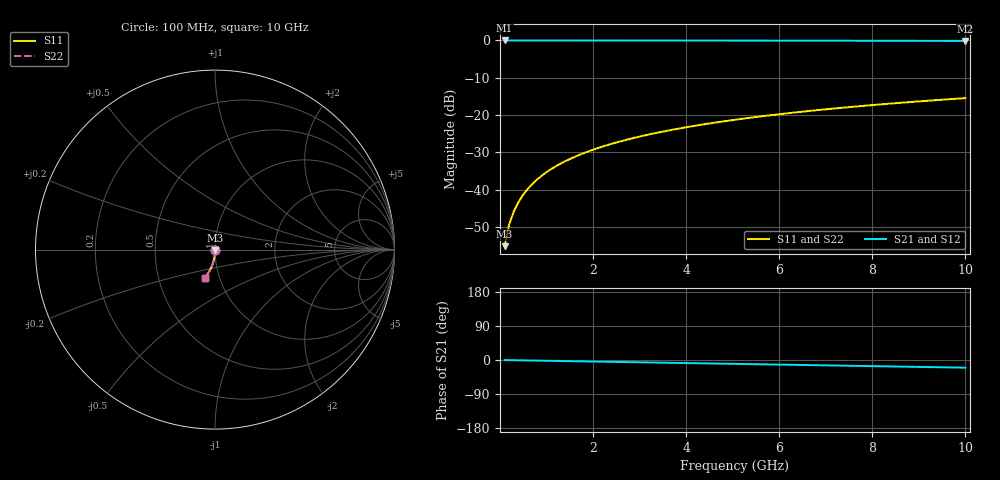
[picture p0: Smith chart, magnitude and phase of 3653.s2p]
# Hz S RI R 50.00
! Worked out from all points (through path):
!   100 points, 100 MHz to 10 GHz, reference 50 ohm
!   highest |S21| = 0.00 dB at 100 MHz (marker M1); lowest = -0.1 dB at 10 GHz (marker M2)
!   group delay of S21, straight-line fit = 5.62 ps
!   lowest |S11| = -55.1 dB at 100 MHz (marker M3), VSWR 1.00, Z = 50 - j0.172 ohm
!   |S11| at or under -10 dB: start of sweep to end of sweep
!   |S22| runs from -55.1 to -15.5 dB; largest |S21 - S12| = 0
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1e8  0.000345 -0.00172  0.9996 -0.00352  0.9996 -0.00352  0.000345 -0.00172
2e8  0.000327 -0.00343  0.9996 -0.00703  0.9996 -0.00703  0.000327 -0.00343
3e8  0.000296 -0.00515  0.9996 -0.0106  0.9996 -0.0106  0.000296 -0.00515
4e8  0.000252 -0.00687  0.9995 -0.0141  0.9995 -0.0141  0.000252 -0.00687
5e8  0.000197 -0.00858  0.9994 -0.0176  0.9994 -0.0176  0.000197 -0.00858
6e8  0.000129 -0.0103  0.9993 -0.0211  0.9993 -0.0211  0.000129 -0.0103
7e8  4.87e-05 -0.012  0.9992 -0.0246  0.9992 -0.0246  4.87e-05 -0.012
8e8  -4.35e-05 -0.0137  0.9991 -0.0281  0.9991 -0.0281  -4.35e-05 -0.0137
9e8  -0.000148 -0.0154  0.999 -0.0317  0.999 -0.0317  -0.000148 -0.0154
1.1e9  -0.000393 -0.0189  0.9987 -0.0387  0.9987 -0.0387  -0.000393 -0.0189
1.4e9  -0.000852 -0.024  0.9981 -0.0492  0.9981 -0.0492  -0.000852 -0.024
1.8e9  -0.00163 -0.0309  0.9971 -0.0633  0.9971 -0.0633  -0.00163 -0.0309
2.1e9  -0.00235 -0.036  0.9962 -0.0738  0.9962 -0.0738  -0.00235 -0.036
2.5e9  -0.00347 -0.0428  0.9948 -0.0878  0.9948 -0.0878  -0.00347 -0.0428
2.9e9  -0.00478 -0.0496  0.9931 -0.1019  0.9931 -0.1019  -0.00478 -0.0496
3.4e9  -0.00669 -0.058  0.9907 -0.1193  0.9907 -0.1193  -0.00669 -0.058
4.2e9  -0.0104 -0.0713  0.986 -0.1471  0.986 -0.1471  -0.0104 -0.0713
5.1e9  -0.0154 -0.086  0.9796 -0.1782  0.9796 -0.1782  -0.0154 -0.086
5.9e9  -0.0206 -0.0988  0.9729 -0.2056  0.9729 -0.2056  -0.0206 -0.0988
6.7e9  -0.0266 -0.1113  0.9652 -0.2327  0.9652 -0.2327  -0.0266 -0.1113
8.4e9  -0.0415 -0.1365  0.946 -0.2891  0.946 -0.2891  -0.0415 -0.1365
1e10  -0.0581 -0.1584  0.9243 -0.3404  0.9243 -0.3404  -0.0581 -0.1584
